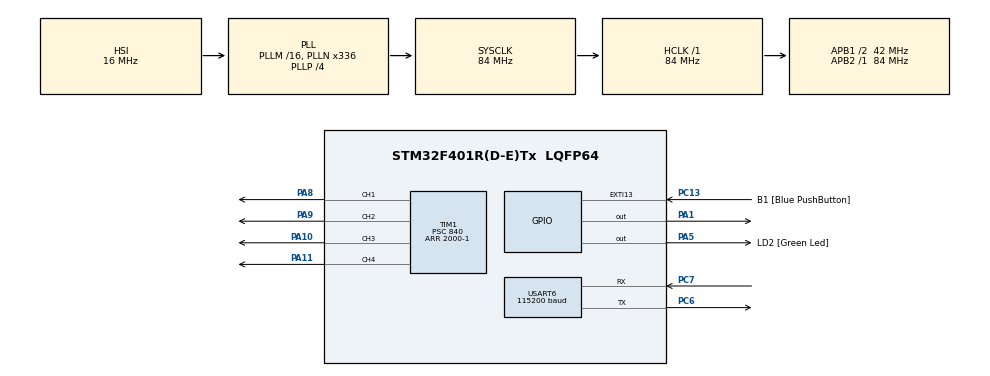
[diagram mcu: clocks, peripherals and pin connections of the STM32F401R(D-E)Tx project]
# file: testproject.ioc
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Dma.Request0=USART6_RX
Dma.USART6_RX.0.Direction=DMA_PERIPH_TO_MEMORY
Dma.USART6_RX.0.FIFOMode=DMA_FIFOMODE_DISABLE
Dma.USART6_RX.0.Instance=DMA2_Stream1
Dma.USART6_RX.0.MemDataAlignment=DMA_MDATAALIGN_BYTE
Dma.USART6_RX.0.MemInc=DMA_MINC_ENABLE
Dma.USART6_RX.0.Mode=DMA_CIRCULAR
Dma.USART6_RX.0.PeriphDataAlignment=DMA_PDATAALIGN_BYTE
Dma.USART6_RX.0.PeriphInc=DMA_PINC_DISABLE
Dma.USART6_RX.0.Priority=DMA_PRIORITY_LOW
Mcu.Family=STM32F4
Mcu.Name=STM32F401R(D-E)Tx
Mcu.Package=LQFP64
NVIC.DMA2_Stream1_IRQn=true\:0\:0\:false\:false\:true\:false
NVIC.PriorityGroup=NVIC_PRIORITYGROUP_0
NVIC.TIM1_BRK_TIM9_IRQn=true\:0\:0\:false\:false\:true\:true
NVIC.USART6_IRQn=true\:0\:0\:false\:false\:true\:true
PA1.Signal=GPIO_Output
PA10.Signal=S_TIM1_CH3
PA11.Signal=S_TIM1_CH4
PA13.GPIO_Label=TMS
PA13.Mode=Serial_Wire
PA13.Signal=SYS_JTMS-SWDIO
PA14.GPIO_Label=TCK
PA14.Mode=Serial_Wire
PA14.Signal=SYS_JTCK-SWCLK
PA5.GPIO_Label=LD2 [Green Led]
PA5.GPIO_Mode=GPIO_MODE_OUTPUT_PP
PA5.GPIO_PuPd=GPIO_NOPULL
PA5.GPIO_Speed=GPIO_SPEED_FREQ_LOW
PA5.Signal=GPIO_Output
PA8.Signal=S_TIM1_CH1
PA9.Signal=S_TIM1_CH2
PB3.GPIO_Label=SWO
PB3.Signal=SYS_JTDO-SWO
PC13-ANTI_TAMP.GPIO_Label=B1 [Blue PushButton]
PC13-ANTI_TAMP.GPIO_ModeDefaultEXTI=GPIO_MODE_IT_FALLING
PC13-ANTI_TAMP.GPIO_PuPd=GPIO_NOPULL
PC13-ANTI_TAMP.Signal=GPXTI13
PC14-OSC32_IN.Mode=LSE-External-Oscillator
PC14-OSC32_IN.Signal=RCC_OSC32_IN
PC15-OSC32_OUT.Mode=LSE-External-Oscillator
PC15-OSC32_OUT.Signal=RCC_OSC32_OUT
PC6.Mode=Asynchronous
PC6.Signal=USART6_TX
PC7.Mode=Asynchronous
PC7.Signal=USART6_RX
PH0\ -\ OSC_IN.Mode=HSE-External-Clock-Source
PH0\ -\ OSC_IN.Signal=RCC_OSC_IN
PH1\ -\ OSC_OUT.Mode=HSE-External-Clock-Source
PH1\ -\ OSC_OUT.Signal=RCC_OSC_OUT
ProjectManager.HeapSize=0x200
ProjectManager.StackSize=0x400
ProjectManager.TargetToolchain=EWARM
RCC.48MHZClocksFreq_Value=48000000
RCC.AHBFreq_Value=84000000
RCC.APB1CLKDivider=RCC_HCLK_DIV2
RCC.APB1Freq_Value=42000000
RCC.APB1TimFreq_Value=84000000
RCC.APB2Freq_Value=84000000
RCC.APB2TimFreq_Value=84000000
RCC.CortexFreq_Value=84000000
RCC.HCLKFreq_Value=84000000
RCC.HSE_VALUE=8000000
RCC.HSI_VALUE=16000000
RCC.PLLN=336
RCC.PLLP=RCC_PLLP_DIV4
RCC.PLLQ=7
RCC.SYSCLKFreq_VALUE=84000000
RCC.SYSCLKSource=RCC_SYSCLKSOURCE_PLLCLK
RCC.VCOOutputFreq_Value=336000000
SH.S_TIM1_CH1.0=TIM1_CH1,PWM Generation1 CH1
SH.S_TIM1_CH2.0=TIM1_CH2,PWM Generation2 CH2
SH.S_TIM1_CH3.0=TIM1_CH3,PWM Generation3 CH3
SH.S_TIM1_CH4.0=TIM1_CH4,PWM Generation4 CH4
TIM1.Channel-PWM\ Generation1\ CH1=TIM_CHANNEL_1
TIM1.Channel-PWM\ Generation2\ CH2=TIM_CHANNEL_2
TIM1.Channel-PWM\ Generation3\ CH3=TIM_CHANNEL_3
TIM1.Channel-PWM\ Generation4\ CH4=TIM_CHANNEL_4
TIM1.Period=2000-1
TIM1.Prescaler=840
TIM9.Period=1000-1
TIM9.Prescaler=1680
USART6.BaudRate=115200
USART6.VirtualMode=VM_ASYNC
VP_TIM9_VS_ClockSourceINT.Mode=Internal
board=NUCLEO-F401RE

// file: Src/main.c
/**
  ******************************************************************************
  * @file           : main.c
  * @brief          : Main program body
  ******************************************************************************
  ** This notice applies to any and all portions of this file
  * that are not between comment pairs USER CODE BEGIN and
  * USER CODE END. Other portions of this file, whether
  * inserted by the user or by software development tools
  * are owned by their respective copyright owners.
  *
  * COPYRIGHT(c) 2020 STMicroelectronics
  *
  * Redistribution and use in source and binary forms, with or without modification,
  * are permitted provided that the following conditions are met:
  *   1. Redistributions of source code must retain the above copyright notice,
  *      this list of conditions and the following disclaimer.
  *   2. Redistributions in binary form must reproduce the above copyright notice,
  *      this list of conditions and the following disclaimer in the documentation
  *      and/or other materials provided with the distribution.
  *   3. Neither the name of STMicroelectronics nor the names of its contributors
  *      may be used to endorse or promote products derived from this software
  *      without specific prior written permission.
  *
  * THIS SOFTWARE IS PROVIDED BY THE COPYRIGHT HOLDERS AND CONTRIBUTORS "AS IS"
  * AND ANY EXPRESS OR IMPLIED WARRANTIES, INCLUDING, BUT NOT LIMITED TO, THE
  * IMPLIED WARRANTIES OF MERCHANTABILITY AND FITNESS FOR A PARTICULAR PURPOSE ARE
  * DISCLAIMED. IN NO EVENT SHALL THE COPYRIGHT HOLDER OR CONTRIBUTORS BE LIABLE
  * FOR ANY DIRECT, INDIRECT, INCIDENTAL, SPECIAL, EXEMPLARY, OR CONSEQUENTIAL
  * DAMAGES (INCLUDING, BUT NOT LIMITED TO, PROCUREMENT OF SUBSTITUTE GOODS OR
  * SERVICES; LOSS OF USE, DATA, OR PROFITS; OR BUSINESS INTERRUPTION) HOWEVER
  * CAUSED AND ON ANY THEORY OF LIABILITY, WHETHER IN CONTRACT, STRICT LIABILITY,
  * OR TORT (INCLUDING NEGLIGENCE OR OTHERWISE) ARISING IN ANY WAY OUT OF THE USE
  * OF THIS SOFTWARE, EVEN IF ADVISED OF THE POSSIBILITY OF SUCH DAMAGE.
  *
  ******************************************************************************
  */
#include "main.h"
#include "stm32f4xx_hal.h"

/* USER CODE BEGIN Includes */
#include "math.h"
/* USER CODE END Includes */

TIM_HandleTypeDef htim1;
TIM_HandleTypeDef htim9;

UART_HandleTypeDef huart6;
DMA_HandleTypeDef hdma_usart6_rx;

/* USER CODE BEGIN PV */
/* Private variables ---------------------------------------------------------*/
//#define RX_BUFFER_SIZE 12
#define RX_BUFFER_SIZE 12

int i = 0;
//x - 0, y - 1
double Kp[2] = {3.159, 3.165};
double Ki[2] = {0.261,0.258};
double Kd[2] = {0.6682,0.6451};
double error[2] = {0, };
double error_pre[2] = {0, };
double target[2] = {280,220};
double current[2] = {0, };
double I_control[2] = {0,0};
double control[2] = {0, };

double dt = 0.02;

double degree[4] = {23,23,23,23};

uint16_t Motor_CCR1 = 0;
uint16_t Motor_CCR2 = 0;
uint16_t Motor_CCR3 = 0;
uint16_t Motor_CCR4 = 0;

uint8_t tx_buffer[] = "Message Received!\r\n";
uint8_t rx_buffer[RX_BUFFER_SIZE];

uint8_t tx_len;
/* USER CODE END PV */

void SystemClock_Config(void);
static void MX_GPIO_Init(void);
static void MX_DMA_Init(void);
static void MX_TIM9_Init(void);
static void MX_USART6_UART_Init(void);
static void MX_TIM1_Init(void);
void HAL_TIM_MspPostInit(TIM_HandleTypeDef *htim);

/* USER CODE BEGIN PFP */
/* Private function prototypes -----------------------------------------------*/

int SERVO1(double sv1) {
  return (int)round(0.000004*pow(sv1,4)-0.0003*pow(sv1,3)+0.0071*pow(sv1,2)+0.9508*sv1+117.03);
}
int SERVO2(double sv2) {
  return (int)round(-0.000005*pow(sv2,4)+0.0005*pow(sv2,3)-0.012*pow(sv2,2)-0.9505*sv2+121.02);
}
int SERVO3(double sv3) {
  return (int)round(0.000004*pow(sv3,4)-0.0003*pow(sv3,3)+0.0065*pow(sv3,2)+1.0307*sv3+121.95);
}
int SERVO4(double sv4) {
  return (int)round(-0.0000007*pow(sv4,4)+0.00006*pow(sv4,3)+0.0001*pow(sv4,2)-1.0869*sv4+112.82);
}

/* USER CODE END PFP */

/* USER CODE BEGIN 0 */
void HAL_TIM_PeriodElapsedCallback(TIM_HandleTypeDef *htim) {
  if(htim == &htim9)
  {
    //HAL_GPIO_TogglePin(GPIOA, GPIO_PIN_5);
    current[0] = 100*(rx_buffer[0]-48) + 10*(rx_buffer[1]-48) + (rx_buffer[2]-48);
    current[1] = 100*(rx_buffer[3]-48) + 10*(rx_buffer[4]-48) + (rx_buffer[5]-48);
    target[0] = 100*(rx_buffer[6]-48) + 10*(rx_buffer[7]-48) + (rx_buffer[8]-48);
    target[1] = 100*(rx_buffer[9]-48) + 10*(rx_buffer[10]-48) + (rx_buffer[11]-48);

    for(i = 0; i <2; i++) {
      error[i] = (double)target[i] - current[i];
      I_control[i] += (double)error[i] * dt;
      control[i] = (double)(Kp[i]*error[i] + I_control[i] + Kd[i]*(error[i] - error_pre[i])/dt)/62.749;
      error_pre[i] = error[i];
    }

    degree[1] = 23-control[1];
    degree[3] = 23+control[1];

    degree[0] = 23+control[0];
    degree[2] = 23-control[0];

    if(current[1]<5) {
      degree[0] = 23;
      degree[1] = 23;
      degree[2] = 23;
      degree[3] = 23;
      for(i = 0; i <2; i++) {
      I_control[i] = 0;
      control[i] = 0;
      error[i] = 0;
      }
    }

    Motor_CCR1 = SERVO1(degree[0]);
    Motor_CCR2 = SERVO2(degree[1]);
    Motor_CCR3 = SERVO3(degree[2]);
    Motor_CCR4 = SERVO4(degree[3]);

    TIM1->CCR1 = Motor_CCR1;
    TIM1->CCR2 = Motor_CCR2;
    TIM1->CCR3 = Motor_CCR3;
    TIM1->CCR4 = Motor_CCR4;

  }
}

void HAL_UART_CallBack(UART_HandleTypeDef *huart) {

  HAL_GPIO_TogglePin(GPIOA, GPIO_PIN_5);
  tx_len = sizeof(tx_buffer) -1;
  HAL_UART_Transmit(&huart6, tx_buffer, tx_len, HAL_MAX_DELAY);

}

/* USER CODE END 0 */

int main(void)
{

  /* MCU Configuration----------------------------------------------------------*/

  /* Reset of all peripherals, Initializes the Flash interface and the Systick. */
  HAL_Init();

  /* Configure the system clock */
  SystemClock_Config();

  /* Initialize all configured peripherals */
  MX_GPIO_Init();
  MX_DMA_Init();
  MX_TIM9_Init();
  MX_USART6_UART_Init();
  MX_TIM1_Init();
  /* USER CODE BEGIN 2 */
  HAL_TIM_Base_Start_IT(&htim9);
  HAL_UART_Receive_DMA(&huart6, rx_buffer, RX_BUFFER_SIZE);
  HAL_UART_Receive_IT(&huart6,rx_buffer,12);
  HAL_TIM_PWM_Start(&htim1, TIM_CHANNEL_1);
  HAL_TIMEx_PWMN_Start(&htim1, TIM_CHANNEL_1);
  HAL_TIM_PWM_Start(&htim1, TIM_CHANNEL_2);
  HAL_TIMEx_PWMN_Start(&htim1, TIM_CHANNEL_2);
  HAL_TIM_PWM_Start(&htim1, TIM_CHANNEL_3);
  HAL_TIMEx_PWMN_Start(&htim1, TIM_CHANNEL_3);
  HAL_TIM_PWM_Start(&htim1, TIM_CHANNEL_4);
  HAL_TIMEx_PWMN_Start(&htim1, TIM_CHANNEL_4);
  Motor_CCR1 = SERVO1(0);

  /* USER CODE END 2 */

  /* Infinite loop */
  /* USER CODE BEGIN WHILE */
  while (1)
  {
    //HAL_GPIO_TogglePin(GPIOA, GPIO_PIN_5);
    //HAL_Delay(500);

  /* USER CODE END WHILE */

  }

}

void SystemClock_Config(void)
{

  RCC_OscInitTypeDef RCC_OscInitStruct;
  RCC_ClkInitTypeDef RCC_ClkInitStruct;

    /**Configure the main internal regulator output voltage
    */
  __HAL_RCC_PWR_CLK_ENABLE();

  __HAL_PWR_VOLTAGESCALING_CONFIG(PWR_REGULATOR_VOLTAGE_SCALE2);

    /**Initializes the CPU, AHB and APB busses clocks
    */
  RCC_OscInitStruct.OscillatorType = RCC_OSCILLATORTYPE_HSI;
  RCC_OscInitStruct.HSIState = RCC_HSI_ON;
  RCC_OscInitStruct.HSICalibrationValue = 16;
  RCC_OscInitStruct.PLL.PLLState = RCC_PLL_ON;
  RCC_OscInitStruct.PLL.PLLSource = RCC_PLLSOURCE_HSI;
  RCC_OscInitStruct.PLL.PLLM = 16;
  RCC_OscInitStruct.PLL.PLLN = 336;
  RCC_OscInitStruct.PLL.PLLP = RCC_PLLP_DIV4;
  RCC_OscInitStruct.PLL.PLLQ = 7;
  if (HAL_RCC_OscConfig(&RCC_OscInitStruct) != HAL_OK)
  {
    _Error_Handler(__FILE__, __LINE__);
  }

    /**Initializes the CPU, AHB and APB busses clocks
    */
  RCC_ClkInitStruct.ClockType = RCC_CLOCKTYPE_HCLK|RCC_CLOCKTYPE_SYSCLK
                              |RCC_CLOCKTYPE_PCLK1|RCC_CLOCKTYPE_PCLK2;
  RCC_ClkInitStruct.SYSCLKSource = RCC_SYSCLKSOURCE_PLLCLK;
  RCC_ClkInitStruct.AHBCLKDivider = RCC_SYSCLK_DIV1;
  RCC_ClkInitStruct.APB1CLKDivider = RCC_HCLK_DIV2;
  RCC_ClkInitStruct.APB2CLKDivider = RCC_HCLK_DIV1;

  if (HAL_RCC_ClockConfig(&RCC_ClkInitStruct, FLASH_LATENCY_2) != HAL_OK)
  {
    _Error_Handler(__FILE__, __LINE__);
  }

    /**Configure the Systick interrupt time
    */
  HAL_SYSTICK_Config(HAL_RCC_GetHCLKFreq()/1000);

    /**Configure the Systick
    */
  HAL_SYSTICK_CLKSourceConfig(SYSTICK_CLKSOURCE_HCLK);

  /* SysTick_IRQn interrupt configuration */
  HAL_NVIC_SetPriority(SysTick_IRQn, 0, 0);
}

/* TIM1 init function */
static void MX_TIM1_Init(void)
{

  TIM_MasterConfigTypeDef sMasterConfig;
  TIM_OC_InitTypeDef sConfigOC;
  TIM_BreakDeadTimeConfigTypeDef sBreakDeadTimeConfig;

  htim1.Instance = TIM1;
  htim1.Init.Prescaler = 840;
  htim1.Init.CounterMode = TIM_COUNTERMODE_UP;
  htim1.Init.Period = 2000-1;
  htim1.Init.ClockDivision = TIM_CLOCKDIVISION_DIV1;
  htim1.Init.RepetitionCounter = 0;
  if (HAL_TIM_PWM_Init(&htim1) != HAL_OK)
  {
    _Error_Handler(__FILE__, __LINE__);
  }

  sMasterConfig.MasterOutputTrigger = TIM_TRGO_RESET;
  sMasterConfig.MasterSlaveMode = TIM_MASTERSLAVEMODE_DISABLE;
  if (HAL_TIMEx_MasterConfigSynchronization(&htim1, &sMasterConfig) != HAL_OK)
  {
    _Error_Handler(__FILE__, __LINE__);
  }

  sConfigOC.OCMode = TIM_OCMODE_PWM1;
  sConfigOC.Pulse = 0;
  sConfigOC.OCPolarity = TIM_OCPOLARITY_HIGH;
  sConfigOC.OCNPolarity = TIM_OCNPOLARITY_HIGH;
  sConfigOC.OCFastMode = TIM_OCFAST_DISABLE;
  sConfigOC.OCIdleState = TIM_OCIDLESTATE_RESET;
  sConfigOC.OCNIdleState = TIM_OCNIDLESTATE_RESET;
  if (HAL_TIM_PWM_ConfigChannel(&htim1, &sConfigOC, TIM_CHANNEL_1) != HAL_OK)
  {
    _Error_Handler(__FILE__, __LINE__);
  }

  if (HAL_TIM_PWM_ConfigChannel(&htim1, &sConfigOC, TIM_CHANNEL_2) != HAL_OK)
  {
    _Error_Handler(__FILE__, __LINE__);
  }

  if (HAL_TIM_PWM_ConfigChannel(&htim1, &sConfigOC, TIM_CHANNEL_3) != HAL_OK)
  {
    _Error_Handler(__FILE__, __LINE__);
  }

  if (HAL_TIM_PWM_ConfigChannel(&htim1, &sConfigOC, TIM_CHANNEL_4) != HAL_OK)
  {
    _Error_Handler(__FILE__, __LINE__);
  }

  sBreakDeadTimeConfig.OffStateRunMode = TIM_OSSR_DISABLE;
  sBreakDeadTimeConfig.OffStateIDLEMode = TIM_OSSI_DISABLE;
  sBreakDeadTimeConfig.LockLevel = TIM_LOCKLEVEL_OFF;
  sBreakDeadTimeConfig.DeadTime = 0;
  sBreakDeadTimeConfig.BreakState = TIM_BREAK_DISABLE;
  sBreakDeadTimeConfig.BreakPolarity = TIM_BREAKPOLARITY_HIGH;
  sBreakDeadTimeConfig.AutomaticOutput = TIM_AUTOMATICOUTPUT_DISABLE;
  if (HAL_TIMEx_ConfigBreakDeadTime(&htim1, &sBreakDeadTimeConfig) != HAL_OK)
  {
    _Error_Handler(__FILE__, __LINE__);
  }

  HAL_TIM_MspPostInit(&htim1);

}

/* TIM9 init function */
static void MX_TIM9_Init(void)
{

  TIM_ClockConfigTypeDef sClockSourceConfig;

  htim9.Instance = TIM9;
  htim9.Init.Prescaler = 1680;
  htim9.Init.CounterMode = TIM_COUNTERMODE_UP;
  htim9.Init.Period = 1000-1;
  htim9.Init.ClockDivision = TIM_CLOCKDIVISION_DIV1;
  if (HAL_TIM_Base_Init(&htim9) != HAL_OK)
  {
    _Error_Handler(__FILE__, __LINE__);
  }

  sClockSourceConfig.ClockSource = TIM_CLOCKSOURCE_INTERNAL;
  if (HAL_TIM_ConfigClockSource(&htim9, &sClockSourceConfig) != HAL_OK)
  {
    _Error_Handler(__FILE__, __LINE__);
  }

}

/* USART6 init function */
static void MX_USART6_UART_Init(void)
{

  huart6.Instance = USART6;
  huart6.Init.BaudRate = 115200;
  huart6.Init.WordLength = UART_WORDLENGTH_8B;
  huart6.Init.StopBits = UART_STOPBITS_1;
  huart6.Init.Parity = UART_PARITY_NONE;
  huart6.Init.Mode = UART_MODE_TX_RX;
  huart6.Init.HwFlowCtl = UART_HWCONTROL_NONE;
  huart6.Init.OverSampling = UART_OVERSAMPLING_16;
  if (HAL_UART_Init(&huart6) != HAL_OK)
  {
    _Error_Handler(__FILE__, __LINE__);
  }

}

static void MX_DMA_Init(void)
{
  /* DMA controller clock enable */
  __HAL_RCC_DMA2_CLK_ENABLE();

  /* DMA interrupt init */
  /* DMA2_Stream1_IRQn interrupt configuration */
  HAL_NVIC_SetPriority(DMA2_Stream1_IRQn, 0, 0);
  HAL_NVIC_EnableIRQ(DMA2_Stream1_IRQn);

}

/** Configure pins as
        * Analog
        * Input
        * Output
        * EVENT_OUT
        * EXTI
*/
static void MX_GPIO_Init(void)
{

  GPIO_InitTypeDef GPIO_InitStruct;

  /* GPIO Ports Clock Enable */
  __HAL_RCC_GPIOC_CLK_ENABLE();
  __HAL_RCC_GPIOH_CLK_ENABLE();
  __HAL_RCC_GPIOA_CLK_ENABLE();
  __HAL_RCC_GPIOB_CLK_ENABLE();

  /*Configure GPIO pin Output Level */
  HAL_GPIO_WritePin(GPIOA, GPIO_PIN_1|LD2_Pin, GPIO_PIN_RESET);

  /*Configure GPIO pin : B1_Pin */
  GPIO_InitStruct.Pin = B1_Pin;
  GPIO_InitStruct.Mode = GPIO_MODE_IT_FALLING;
  GPIO_InitStruct.Pull = GPIO_NOPULL;
  HAL_GPIO_Init(B1_GPIO_Port, &GPIO_InitStruct);

  /*Configure GPIO pins : PA1 LD2_Pin */
  GPIO_InitStruct.Pin = GPIO_PIN_1|LD2_Pin;
  GPIO_InitStruct.Mode = GPIO_MODE_OUTPUT_PP;
  GPIO_InitStruct.Pull = GPIO_NOPULL;
  GPIO_InitStruct.Speed = GPIO_SPEED_FREQ_LOW;
  HAL_GPIO_Init(GPIOA, &GPIO_InitStruct);

}

void _Error_Handler(char *file, int line)
{
  while(1)
  {
  }
}

/************************ (C) COPYRIGHT STMicroelectronics *****END OF FILE****/
